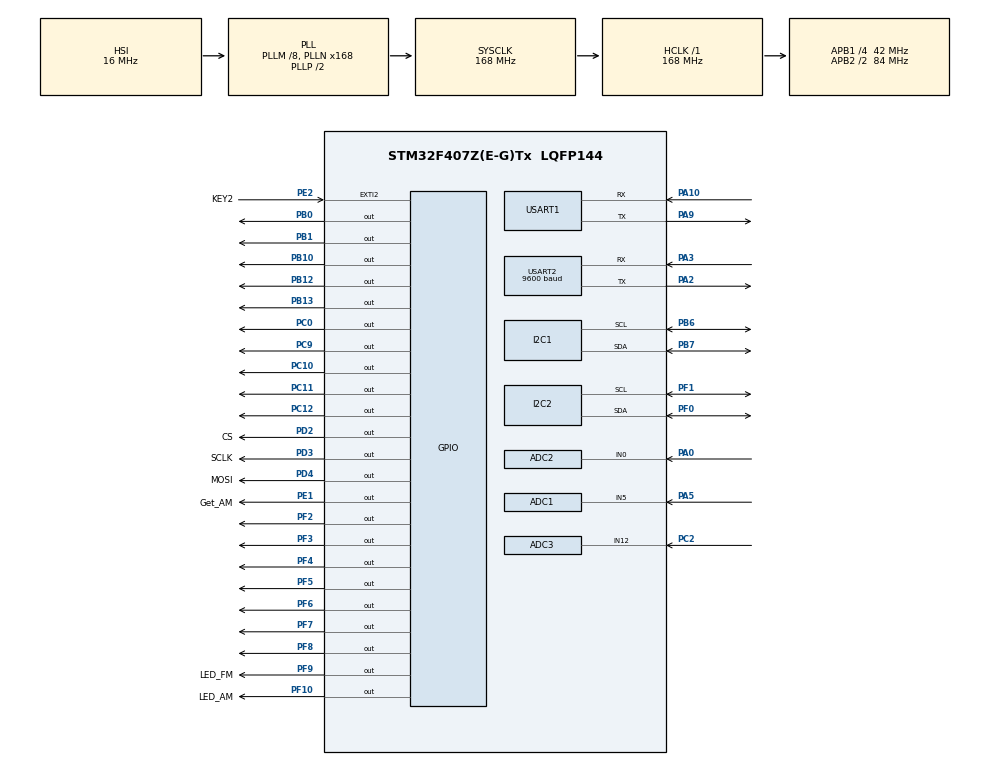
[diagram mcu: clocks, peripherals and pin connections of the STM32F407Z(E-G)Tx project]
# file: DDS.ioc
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ADC1.Channel-4\#ChannelRegularConversion=ADC_CHANNEL_5
ADC1.ExternalTrigConv=ADC_EXTERNALTRIGCONV_T3_TRGO
ADC1.NbrOfConversionFlag=1
ADC1.Rank-4\#ChannelRegularConversion=1
ADC1.SamplingTime-4\#ChannelRegularConversion=ADC_SAMPLETIME_144CYCLES
ADC1.master=1
ADC2.Channel-5\#ChannelRegularConversion=ADC_CHANNEL_0
ADC2.ExternalTrigConv=ADC_EXTERNALTRIGCONV_T3_TRGO
ADC2.NbrOfConversionFlag=1
ADC2.Rank-5\#ChannelRegularConversion=1
ADC2.SamplingTime-5\#ChannelRegularConversion=ADC_SAMPLETIME_144CYCLES
ADC3.Channel-3\#ChannelRegularConversion=ADC_CHANNEL_12
ADC3.ExternalTrigConv=ADC_EXTERNALTRIGCONV_T3_TRGO
ADC3.NbrOfConversionFlag=1
ADC3.Rank-3\#ChannelRegularConversion=1
ADC3.SamplingTime-3\#ChannelRegularConversion=ADC_SAMPLETIME_144CYCLES
Dma.ADC1.0.Direction=DMA_PERIPH_TO_MEMORY
Dma.ADC1.0.FIFOMode=DMA_FIFOMODE_DISABLE
Dma.ADC1.0.Instance=DMA2_Stream0
Dma.ADC1.0.MemDataAlignment=DMA_MDATAALIGN_HALFWORD
Dma.ADC1.0.MemInc=DMA_MINC_ENABLE
Dma.ADC1.0.Mode=DMA_NORMAL
Dma.ADC1.0.PeriphDataAlignment=DMA_PDATAALIGN_HALFWORD
Dma.ADC1.0.PeriphInc=DMA_PINC_DISABLE
Dma.ADC1.0.Priority=DMA_PRIORITY_LOW
Dma.ADC2.1.Direction=DMA_PERIPH_TO_MEMORY
Dma.ADC2.1.FIFOMode=DMA_FIFOMODE_DISABLE
Dma.ADC2.1.Instance=DMA2_Stream2
Dma.ADC2.1.MemDataAlignment=DMA_MDATAALIGN_HALFWORD
Dma.ADC2.1.MemInc=DMA_MINC_ENABLE
Dma.ADC2.1.Mode=DMA_NORMAL
Dma.ADC2.1.PeriphDataAlignment=DMA_PDATAALIGN_HALFWORD
Dma.ADC2.1.PeriphInc=DMA_PINC_DISABLE
Dma.ADC2.1.Priority=DMA_PRIORITY_LOW
Dma.ADC3.2.Direction=DMA_PERIPH_TO_MEMORY
Dma.ADC3.2.FIFOMode=DMA_FIFOMODE_DISABLE
Dma.ADC3.2.Instance=DMA2_Stream1
Dma.ADC3.2.MemDataAlignment=DMA_MDATAALIGN_HALFWORD
Dma.ADC3.2.MemInc=DMA_MINC_ENABLE
Dma.ADC3.2.Mode=DMA_NORMAL
Dma.ADC3.2.PeriphDataAlignment=DMA_PDATAALIGN_HALFWORD
Dma.ADC3.2.PeriphInc=DMA_PINC_DISABLE
Dma.ADC3.2.Priority=DMA_PRIORITY_LOW
Dma.Request0=ADC1
Dma.Request1=ADC2
Dma.Request2=ADC3
Mcu.Family=STM32F4
Mcu.Name=STM32F407Z(E-G)Tx
Mcu.Package=LQFP144
NVIC.ADC_IRQn=true\:0\:0\:false\:false\:true\:true\:true\:true
NVIC.DMA2_Stream0_IRQn=true\:0\:0\:false\:false\:true\:false\:true\:true
NVIC.DMA2_Stream1_IRQn=true\:0\:0\:false\:false\:true\:false\:true\:true
NVIC.DMA2_Stream2_IRQn=true\:0\:0\:false\:false\:true\:false\:true\:true
NVIC.EXTI2_IRQn=true\:0\:0\:false\:false\:true\:true\:true\:true
NVIC.PriorityGroup=NVIC_PRIORITYGROUP_4
NVIC.USART1_IRQn=true\:0\:0\:false\:false\:true\:true\:true\:true
PA0-WKUP.Signal=ADCx_IN0
PA10.Mode=Asynchronous
PA10.Signal=USART1_RX
PA13.Mode=Serial_Wire
PA13.Signal=SYS_JTMS-SWDIO
PA14.Mode=Serial_Wire
PA14.Signal=SYS_JTCK-SWCLK
PA2.Mode=Asynchronous
PA2.Signal=USART2_TX
PA3.Mode=Asynchronous
PA3.Signal=USART2_RX
PA5.Signal=ADCx_IN5
PA9.Mode=Asynchronous
PA9.Signal=USART1_TX
PB0.GPIO_Speed=GPIO_SPEED_FREQ_LOW
PB0.Signal=GPIO_Output
PB1.GPIO_Speed=GPIO_SPEED_FREQ_LOW
PB1.Signal=GPIO_Output
PB10.GPIO_Speed=GPIO_SPEED_FREQ_LOW
PB10.Signal=GPIO_Output
PB12.GPIO_Speed=GPIO_SPEED_FREQ_VERY_HIGH
PB12.Signal=GPIO_Output
PB13.GPIO_Speed=GPIO_SPEED_FREQ_VERY_HIGH
PB13.Signal=GPIO_Output
PB6.GPIO_Mode=GPIO_MODE_AF_OD
PB6.GPIO_Pu=GPIO_PULLUP
PB6.Mode=I2C
PB6.Signal=I2C1_SCL
PB7.GPIO_Pu=GPIO_PULLUP
PB7.Mode=I2C
PB7.Signal=I2C1_SDA
PC0.GPIO_Speed=GPIO_SPEED_FREQ_LOW
PC0.Signal=GPIO_Output
PC10.Signal=GPIO_Output
PC11.Signal=GPIO_Output
PC12.Signal=GPIO_Output
PC2.Signal=ADCx_IN12
PC9.Signal=GPIO_Output
PD2.GPIO_Label=CS
PD2.GPIO_Speed=GPIO_SPEED_FREQ_VERY_HIGH
PD2.PinState=GPIO_PIN_SET
PD2.Signal=GPIO_Output
PD3.GPIO_Label=SCLK
PD3.GPIO_Speed=GPIO_SPEED_FREQ_VERY_HIGH
PD3.Signal=GPIO_Output
PD4.GPIO_Label=MOSI
PD4.GPIO_Speed=GPIO_SPEED_FREQ_VERY_HIGH
PD4.Signal=GPIO_Output
PE1.GPIO_Label=Get_AM
PE1.GPIO_ModeDefaultOutputPP=GPIO_MODE_OUTPUT_OD
PE1.GPIO_PuPd=GPIO_NOPULL
PE1.GPIO_Speed=GPIO_SPEED_FREQ_MEDIUM
PE1.PinState=GPIO_PIN_SET
PE1.Signal=GPIO_Output
PE2.GPIO_Label=KEY2
PE2.GPIO_ModeDefaultEXTI=GPIO_MODE_IT_FALLING
PE2.GPIO_PuPd=GPIO_PULLUP
PE2.Signal=GPXTI2
PF0.GPIO_Pu=GPIO_PULLUP
PF0.Mode=I2C
PF0.Signal=I2C2_SDA
PF1.GPIO_Pu=GPIO_PULLUP
PF1.Mode=I2C
PF1.Signal=I2C2_SCL
PF10.GPIO_Label=LED_AM
PF10.PinState=GPIO_PIN_SET
PF10.Signal=GPIO_Output
PF2.Signal=GPIO_Output
PF3.Signal=GPIO_Output
PF4.Signal=GPIO_Output
PF5.Signal=GPIO_Output
PF6.Signal=GPIO_Output
PF7.Signal=GPIO_Output
PF8.Signal=GPIO_Output
PF9.GPIO_Label=LED_FM
PF9.PinState=GPIO_PIN_SET
PF9.Signal=GPIO_Output
PH0-OSC_IN.Mode=HSE-External-Oscillator
PH0-OSC_IN.Signal=RCC_OSC_IN
PH1-OSC_OUT.Mode=HSE-External-Oscillator
PH1-OSC_OUT.Signal=RCC_OSC_OUT
ProjectManager.HeapSize=0x200
ProjectManager.StackSize=0x400
ProjectManager.TargetToolchain=MDK-ARM V5.32
RCC.48MHZClocksFreq_Value=84000000
RCC.AHBFreq_Value=168000000
RCC.APB1CLKDivider=RCC_HCLK_DIV4
RCC.APB1Freq_Value=42000000
RCC.APB1TimFreq_Value=84000000
RCC.APB2CLKDivider=RCC_HCLK_DIV2
RCC.APB2Freq_Value=84000000
RCC.APB2TimFreq_Value=168000000
RCC.CortexFreq_Value=168000000
RCC.HCLKFreq_Value=168000000
RCC.HSE_VALUE=25000000
RCC.HSI_VALUE=16000000
RCC.LSE_VALUE=32768
RCC.PLLM=8
RCC.PLLN=168
RCC.SYSCLKFreq_VALUE=168000000
RCC.SYSCLKSource=RCC_SYSCLKSOURCE_PLLCLK
RCC.VCOOutputFreq_Value=336000000
SH.ADCx_IN0.0=ADC2_IN0,IN0
SH.ADCx_IN12.0=ADC3_IN12,IN12
SH.ADCx_IN5.0=ADC1_IN5,IN5
STMicroelectronics.X-CUBE-ALGOBUILD.1.4.0.LibraryCcDSPOoLibraryJjDSPOoLibrary=true
TIM3.AutoReloadPreload=TIM_AUTORELOAD_PRELOAD_ENABLE
TIM3.Period=840-1
TIM3.Prescaler=4-1
TIM3.TIM_MasterOutputTrigger=TIM_TRGO_UPDATE
USART1.VirtualMode=VM_ASYNC
USART2.BaudRate=9600
USART2.VirtualMode=VM_ASYNC
VP_STMicroelectronics.X-CUBE-ALGOBUILD_VS_DSPOoLibraryJjLibrary_1.4.0_1.4.0.Mode=DSPOoLibraryJjLibrary
VP_TIM3_VS_ClockSourceINT.Mode=Internal
board=custom

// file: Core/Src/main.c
/* USER CODE BEGIN Header */
/**
  ******************************************************************************
  * @file           : main.c
  * @brief          : Main program body
  ******************************************************************************
  * @attention
  *
  * Copyright (c) 2025 STMicroelectronics.
  * All rights reserved.
  *
  * This software is licensed under terms that can be found in the LICENSE file
  * in the root directory of this software component.
  * If no LICENSE file comes with this software, it is provided AS-IS.
  *
  ******************************************************************************
  */
/* USER CODE END Header */
#include "main.h"
#include "adc.h"
#include "dma.h"
#include "i2c.h"
#include "tim.h"
#include "usart.h"
#include "gpio.h"

/* USER CODE BEGIN Includes */
#include "arm_math.h"
#include "AD9959.h"
#include "ADF4351.h"
#include "tjc_usart_hmi.h"
#include <stdio.h>
#include <string.h>
#include "delay.h"
#include <math.h>      // 提供 fabsf, roundf, fmaxf 等数学函数
#include <stdlib.h>    // 提供 abs (整型)
#include "RDA5807M.h"
#include <si5351.h>
/* USER CODE END Includes */

/* USER CODE BEGIN PTD */
#define DETECT_BUF_LEN 25

#define F_START    87800000UL   // 起始 RF 频率 88 MHz
#define F_END      108100000UL  // 结束 RF 频率 108 MHz
#define F_STEP     100000UL     // 搜索步进 100 kHz

// DDS 通道定义
#define DDS_CH_FM       CH0            // AD9959 通道 0 用于 FM LO
#define DDS_CH_AM       CH1            // AD9959 通道 1 用于 AM LO
#define DDS_AMP         334         // 最大幅度值（10-bit）
#define DDS_PHASE       0            // 相位校正值 (0)
#define DETECT_THRESHOLD 1.7f        // 检测阈值：<1.7V 表示成功解调，未解调默认 3.3V

/* USER CODE END PTD */

/* USER CODE BEGIN PV */
volatile uint16_t detect_buf1[DETECT_BUF_LEN];
volatile uint16_t detect_buf2[DETECT_BUF_LEN];
/*
DetectConvEnd1用来检测ADC是否采集完毕
0：没有采集完毕
1：采集完毕，在stm32f1xx_it里的DMA完成中断进行修改
 */
volatile uint8_t  DetectConvEnd1 = 0;
volatile uint8_t  DetectConvEnd2 = 0;
volatile uint8_t  DetectConvEnd3 = 0;
uint8_t found = 0;        // 表示是否已经锁频

#define FM_MODE         1            // FM 模式
#define AM_MODE         2            // AM 模式

uint8_t MODE = FM_MODE; // 默认模式为 FM
/* USER CODE END PV */

void SystemClock_Config(void);
/* USER CODE BEGIN PFP */

void HAL_GPIO_EXTI_Callback(uint16_t GPIO_Pin)
{
    if(GPIO_Pin == KEY2_Pin)
    {
        // 简单的消抖处理
        static uint32_t last_time = 0;
        uint32_t current_time = HAL_GetTick();

        if((current_time - last_time) > 20) // 50ms消抖
        {
            // 确认按键状态
            if(HAL_GPIO_ReadPin(KEY2_GPIO_Port, KEY2_Pin) == GPIO_PIN_RESET)
            {
                // 按键按下处理
                found = 0;
            }
        }
        last_time = current_time;
    }
}

/**
 * @brief 通过指定 DDS 通道输出正弦波并等待稳定
 */
static void DDS_Output_Channel(uint8_t ch, uint32_t freq)
{
    AD9959_Set_Fre(ch,   freq);
    AD9959_Set_Amp(ch,   DDS_AMP);
    AD9959_Set_Phase(ch, DDS_PHASE);
    IO_Update();
    delay_us(1000);
}

/**
 * @brief 同时配置两通道 DDS 输出
 */
static void DDS_Output_Two(uint32_t lo_fm, uint32_t lo_am)
{
    DDS_Output_Channel(DDS_CH_FM, lo_fm);
    DDS_Output_Channel(DDS_CH_AM, lo_am);
}

/**
 * @brief 同时使用 TIM3 触发 ADC1/ADC2 + DMA 采集两路检测电压
 * @param[out] v_fm 输出 FM 通道平均电压 (V)
 * @param[out] v_am 输出 AM 通道平均电压 (V)
 */
static void Compute_Dual_Voltage(float *v_fm, float *v_am)
{
    DetectConvEnd1 = DetectConvEnd2 = 0;
    // 启动 DMA
    HAL_ADC_Start_DMA(&hadc1, (uint32_t*)detect_buf1, DETECT_BUF_LEN);
    // HAL_ADC_Start_DMA(&hadc2, (uint32_t*)detect_buf2, DETECT_BUF_LEN);
    // 启动 TIM3 触发两路 ADC
    HAL_TIM_Base_Start(&htim3);
    // 等待两路完成
    while (!DetectConvEnd1);
    // while (!(DetectConvEnd1 && DetectConvEnd2));
    // 停止触发和 DMA
    HAL_TIM_Base_Stop(&htim3);
    HAL_ADC_Stop_DMA(&hadc1);
    // HAL_ADC_Stop_DMA(&hadc2);

    // 计算 FM 平均电压
    uint32_t sum1 = 0;
    for (uint16_t i = 0; i < DETECT_BUF_LEN; i++) sum1 += detect_buf1[i];
    *v_fm = ((float)sum1 / DETECT_BUF_LEN) * (3.3f / 4095.0f);     // PA5
    *v_am = *v_fm;     // PA5
    // 计算 AM 平均电压
    // uint32_t sum2 = 0;
    // for (uint16_t i = 0; i < DETECT_BUF_LEN; i++) sum2 += detect_buf2[i];
    // *v_am = ((float)sum2 / DETECT_BUF_LEN) * (3.3f / 4095.0f);     // PA0

}

/**
 * @brief 采集单通道ADC电压（DMA方式），返回平均电压值（单位：V）
 * @return 平均电压值 (float)
 */
static float Compute_Single_Voltage(void)
{
    DetectConvEnd1 = 0;
    // 启动DMA采集
    HAL_ADC_Start_DMA(&hadc1, (uint32_t*)detect_buf1, DETECT_BUF_LEN);
    // 启动定时器触发ADC
    HAL_TIM_Base_Start(&htim3);
    // 等待采集完成（需在DMA中断里设置conv_end=1）
    while (!DetectConvEnd1);
    // 停止定时器和DMA
    HAL_TIM_Base_Stop(&htim3);
    HAL_ADC_Stop_DMA(&hadc1);

    // 计算平均值
    uint32_t sum = 0;
    for (uint16_t i = 0; i < DETECT_BUF_LEN; i++) sum += detect_buf1[i];
    float voltage = ((float)sum / DETECT_BUF_LEN) * (3.3f / 4095.0f); // 假设参考电压3.3V，12位ADC
    return voltage;
}

///**
// * @brief 采集单通道ADC电压（DMA方式），返回平均电压值（单位：V）
// * @return 平均电压值 (float)
// */
//static float MODE_Voltage(void)
//{
//    DetectConvEnd3 = 0;
//    // 启动DMA采集
//    HAL_ADC_Start_DMA(&hadc3, (uint32_t*)detect_buf1, DETECT_BUF_LEN);
//    // 启动定时器触发ADC
//    HAL_TIM_Base_Start(&htim3);
//    // 等待采集完成（需在DMA中断里设置DetectConvEnd3=1）
//    while (!DetectConvEnd3);
//    // 停止定时器和DMA
//    HAL_TIM_Base_Stop(&htim3);
//    HAL_ADC_Stop_DMA(&hadc3);

//    // 计算平均值
//    uint32_t sum = 0;
//    for (uint16_t i = 0; i < DETECT_BUF_LEN; i++) sum += detect_buf1[i];
//    float voltage = ((float)sum / DETECT_BUF_LEN) * (3.3f / 4095.0f); // 假设参考电压3.3V，12位ADC
//    return voltage;
}
/* USER CODE END PFP */

int main(void)
{

  /* MCU Configuration--------------------------------------------------------*/

  /* Reset of all peripherals, Initializes the Flash interface and the Systick. */
  HAL_Init();

  /* Configure the system clock */
  SystemClock_Config();

  /* Initialize all configured peripherals */
  MX_GPIO_Init();
  MX_DMA_Init();
  MX_USART1_UART_Init();
  MX_ADC1_Init();
  MX_USART2_UART_Init();
  MX_TIM3_Init();
  MX_ADC2_Init();
  MX_I2C1_Init();
  MX_I2C2_Init();
  MX_ADC3_Init();
  /* USER CODE BEGIN 2 */
  delay_init(168);                            /* 延时初始化 */
  HAL_Delay(50);
  AD9959_Init();
  // ADF4351Init();
  // RDA5807M_init();    // 初始化 RDA5807M
  // initRingBuffer();		//初始化环形缓冲区
  // HAL_UART_Receive_IT(&TJC_UART, RxBuffer, 1);	//打开串口接收中断

  // char str[100];
  // uint32_t nowtime = HAL_GetTick();
  // uint32_t last_m = 0xFFFFFFFF;  // 初始化为一个不可能的值
  HAL_Delay(50);
  // RDA5807M_Set_Volume(10);
  uint32_t locked_rf = 0;   // 记录锁定的RF频率
  float v_fm, v_am;  // fm_
  float v_mode;
  uint32_t best_rf_fm;
  uint32_t best_rf_am;
//  MODE = 2;
  // const int32_t correction = 978;
  /* USER CODE END 2 */

  /* Infinite loop */
  /* USER CODE BEGIN WHILE */
  while (1)
  {
  if (!found)
  {
    if (1)
    {
      // FM模式粗略扫频
      for (uint32_t rf = F_START; rf <= F_END; rf += 300000UL)
      {
        uint32_t lo_fm = (rf > 10700000UL) ? (rf - 10700000UL) : 0;
        DDS_Output_Channel(CH0, lo_fm); // 只输出FM通道
        Compute_Dual_Voltage(&v_fm, &v_am);

        // FM精扫判断，只判断FM电压
        if (v_fm <= 0.10f) {
          found = 1;
          locked_rf = rf;
          printf("FM Found at RF=%lu Hz, FM=%lu Hz, Vfm=%.3f V\r\n", rf, (rf - 10700000UL), v_fm);
          // --- FM精扫 ---
          float min_vfm = v_fm;
          best_rf_fm = rf;
          // 在粗扫命中的频率±500kHz范围内，步进50kHz精细扫描
          for (uint32_t rf_fine = (rf > 0 ? rf : F_START); rf_fine <= rf + 500000UL && rf_fine <= F_END; rf_fine += 50000UL) {
            uint32_t lo_fm_fine = (rf_fine > 10700000UL) ? (rf_fine - 10700000UL) : 0;
            DDS_Output_Channel(CH0, lo_fm_fine); // 只输出FM通道
            HAL_Delay(15); // 等待DDS输出稳定
            float v_fm_fine = Compute_Single_Voltage(); // 使用单通道采集
            if (v_fm_fine < min_vfm) {
              min_vfm = v_fm_fine;
              best_rf_fm = rf_fine;
            }
          }
          printf("[FineScan] Best FM at RF=%lu Hz, FM=%lu Hz, Vfm=%.3f V\r\n", best_rf_fm, (best_rf_fm - 10700000UL), min_vfm);
          DDS_Output_Channel(CH0, best_rf_fm > 10700000UL ? (best_rf_fm - 10700000UL) : 0); // 输出最优频率
          HAL_Delay(50);
          HAL_GPIO_WritePin(LED_FM_GPIO_Port, LED_FM_Pin, GPIO_PIN_RESET);
          HAL_GPIO_WritePin(LED_AM_GPIO_Port, LED_AM_Pin, GPIO_PIN_SET);

          v_mode = MODE_Voltage();        // ADC3 = PC2
          printf("Current Mode Voltage: V=%.4f V\r\n", v_mode);

          if (v_mode < 0.005f)
          {
            HAL_GPIO_WritePin(Get_AM_GPIO_Port, Get_AM_Pin, GPIO_PIN_RESET);
            HAL_Delay(50);
            best_rf_am = best_rf_fm;
            printf("[FineScan] Best AM at RF=%lu Hz, AM=%lu Hz, Vam=%.3f V\r\n", best_rf_am, (best_rf_am > 455000UL ? best_rf_am - 455000UL : 0));
            DDS_Output_Channel(CH0, best_rf_am > 455000UL ? (best_rf_am - 455000UL) : 0); // 输出最优频率
            HAL_Delay(50);
              HAL_GPIO_WritePin(LED_FM_GPIO_Port, LED_FM_Pin, GPIO_PIN_SET);
              HAL_GPIO_WritePin(LED_AM_GPIO_Port, LED_AM_Pin, GPIO_PIN_RESET);
              break;
          }
            }
          }
        }
    }

    if (!found) {
      printf("No signal detected\r\n");
      HAL_GPIO_WritePin(LED_FM_GPIO_Port, LED_FM_Pin, GPIO_PIN_RESET);
      HAL_GPIO_WritePin(LED_AM_GPIO_Port, LED_AM_Pin, GPIO_PIN_RESET);
    }

  // DDS_Output_Channel(CH0, best_rf_am > 455000UL ? (best_rf_am - 455000UL) : 0); // 输出最优频率
  // printf("Best AM at RF=%lu Hz, AM=%lu Hz, Vam=%.3f V\r\n", best_rf_am, (best_rf_am > 455000UL ? best_rf_am - 455000UL : 0), v_am);
  HAL_Delay(300);
  // float current_v = Compute_Single_Voltage(); // 使用单通道采集
  // printf("当前检测电压: V=%.4f V\r\n", current_v);
    //  // 解锁判断：如果电压超过阈值，表明信号丢失
    //  if (found && current_v > 0.2f)
    //  {
    //    // 再次确认，排除干扰
    //    HAL_Delay(50);
    //    current_v = Compute_Single_Voltage();
    //    if (current_v > 0.2f)
    //    {
    //      found = 0; // 重置状态，下次循环重新搜索
    //      printf("信号丢失，电压=%.4f V\r\n", current_v);
    //    }
    //  }
  // printf("MODE=%d\r\n", MODE);

  /* USER CODE END WHILE */
}
}

void SystemClock_Config(void)
{
  RCC_OscInitTypeDef RCC_OscInitStruct = {0};
  RCC_ClkInitTypeDef RCC_ClkInitStruct = {0};

  /** Configure the main internal regulator output voltage
  */
  __HAL_RCC_PWR_CLK_ENABLE();
  __HAL_PWR_VOLTAGESCALING_CONFIG(PWR_REGULATOR_VOLTAGE_SCALE1);

  /** Initializes the RCC Oscillators according to the specified parameters
  * in the RCC_OscInitTypeDef structure.
  */
  RCC_OscInitStruct.OscillatorType = RCC_OSCILLATORTYPE_HSI;
  RCC_OscInitStruct.HSIState = RCC_HSI_ON;
  RCC_OscInitStruct.HSICalibrationValue = RCC_HSICALIBRATION_DEFAULT;
  RCC_OscInitStruct.PLL.PLLState = RCC_PLL_ON;
  RCC_OscInitStruct.PLL.PLLSource = RCC_PLLSOURCE_HSI;
  RCC_OscInitStruct.PLL.PLLM = 8;
  RCC_OscInitStruct.PLL.PLLN = 168;
  RCC_OscInitStruct.PLL.PLLP = RCC_PLLP_DIV2;
  RCC_OscInitStruct.PLL.PLLQ = 4;
  if (HAL_RCC_OscConfig(&RCC_OscInitStruct) != HAL_OK)
  {
    Error_Handler();
  }

  /** Initializes the CPU, AHB and APB buses clocks
  */
  RCC_ClkInitStruct.ClockType = RCC_CLOCKTYPE_HCLK|RCC_CLOCKTYPE_SYSCLK
                              |RCC_CLOCKTYPE_PCLK1|RCC_CLOCKTYPE_PCLK2;
  RCC_ClkInitStruct.SYSCLKSource = RCC_SYSCLKSOURCE_PLLCLK;
  RCC_ClkInitStruct.AHBCLKDivider = RCC_SYSCLK_DIV1;
  RCC_ClkInitStruct.APB1CLKDivider = RCC_HCLK_DIV4;
  RCC_ClkInitStruct.APB2CLKDivider = RCC_HCLK_DIV2;

  if (HAL_RCC_ClockConfig(&RCC_ClkInitStruct, FLASH_LATENCY_5) != HAL_OK)
  {
    Error_Handler();
  }
}

void Error_Handler(void)
{
  __disable_irq();
  while (1)
  {
  }
}
